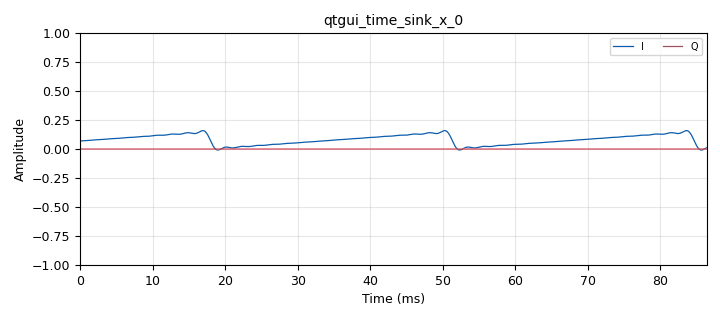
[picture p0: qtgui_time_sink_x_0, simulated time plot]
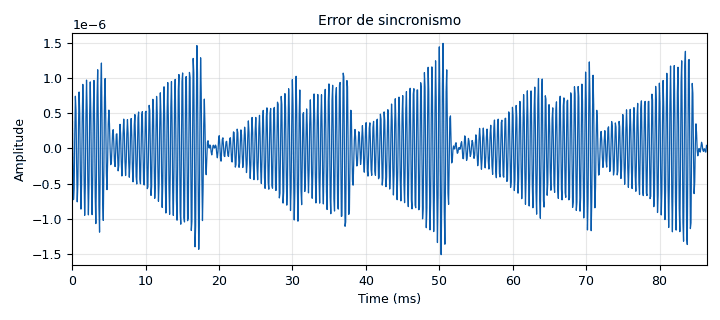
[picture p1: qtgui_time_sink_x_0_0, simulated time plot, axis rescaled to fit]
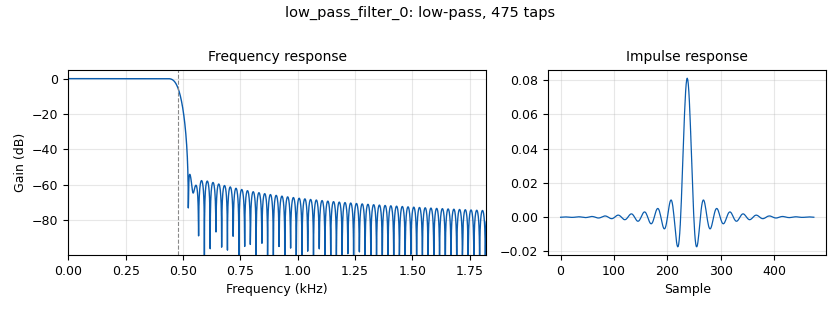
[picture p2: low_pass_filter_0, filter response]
<?xml version='1.0' encoding='utf-8'?>
<?grc format='1' created='3.7.13'?>
<flow_graph>
<block>
<key>options</key>
<param><key>id</key><value>top_block</value></param>
<param><key>description</key><value>NOTAS: Spp es samples per period; p_correccionla correcion de fase no esta en grados sino en muestras;</value></param>
<param><key>generate_options</key><value>qt_gui</value></param>
</block>
<block>
<key>variable</key>
<param><key>id</key><value>Ac_in</value></param>
<param><key>value</key><value>1</value></param>
</block>
<block>
<key>variable</key>
<param><key>id</key><value>BW_mensaje</value></param>
<param><key>value</key><value>fmensaje*16</value></param>
</block>
<block>
<key>variable</key>
<param><key>id</key><value>Spp</value></param>
<param><key>value</key><value>int(math.ceil(samp_rate/fc))</value></param>
</block>
<block>
<key>variable_qtgui_range</key>
<param><key>id</key><value>f_correccion</value></param>
<param><key>value</key><value>0</value></param>
<param><key>orient</key><value>Qt.Horizontal</value></param>
<param><key>start</key><value>-BW_mensaje/2.</value></param>
<param><key>step</key><value>BW_mensaje/200.</value></param>
<param><key>stop</key><value>BW_mensaje/2.</value></param>
</block>
<block>
<key>variable_qtgui_range</key>
<param><key>id</key><value>f_dev_in</value></param>
<param><key>value</key><value>0</value></param>
<param><key>orient</key><value>Qt.Horizontal</value></param>
<param><key>start</key><value>-BW_mensaje/2.</value></param>
<param><key>step</key><value>BW_mensaje/200.</value></param>
<param><key>stop</key><value>BW_mensaje/2.</value></param>
</block>
<block>
<key>variable</key>
<param><key>id</key><value>f_dev_in</value></param>
<param><key>_enabled</key><value>0</value></param>
<param><key>value</key><value>0</value></param>
</block>
<block>
<key>variable</key>
<param><key>id</key><value>fc</value></param>
<param><key>value</key><value>1000</value></param>
</block>
<block>
<key>variable</key>
<param><key>id</key><value>fmensaje</value></param>
<param><key>value</key><value>30</value></param>
</block>
<block>
<key>variable_qtgui_range</key>
<param><key>id</key><value>p_correccion</value></param>
<param><key>value</key><value>0</value></param>
<param><key>orient</key><value>Qt.Horizontal</value></param>
<param><key>start</key><value>0</value></param>
<param><key>step</key><value>1</value></param>
<param><key>stop</key><value>Spp</value></param>
<param><key>rangeType</key><value>int</value></param>
</block>
<block>
<key>variable</key>
<param><key>id</key><value>samp_rate</value></param>
<param><key>value</key><value>math.ceil((fc+BW_mensaje)*8.)</value></param>
</block>
<block>
<key>analog_sig_source_x</key>
<param><key>id</key><value>analog_sig_source_x_0</value></param>
<param><key>amp</key><value>Ac_in</value></param>
<param><key>freq</key><value>fc+f_dev_in</value></param>
<param><key>offset</key><value>0</value></param>
<param><key>type</key><value>float</value></param>
<param><key>samp_rate</key><value>samp_rate</value></param>
<param><key>waveform</key><value>analog.GR_SIN_WAVE</value></param>
</block>
<block>
<key>analog_sig_source_x</key>
<param><key>id</key><value>analog_sig_source_x_0_0</value></param>
<param><key>amp</key><value>1</value></param>
<param><key>freq</key><value>fc+f_correccion</value></param>
<param><key>offset</key><value>0</value></param>
<param><key>type</key><value>float</value></param>
<param><key>samp_rate</key><value>samp_rate</value></param>
<param><key>waveform</key><value>analog.GR_SIN_WAVE</value></param>
</block>
<block>
<key>analog_sig_source_x</key>
<param><key>id</key><value>analog_sig_source_x_0_0_0</value></param>
<param><key>amp</key><value>1</value></param>
<param><key>freq</key><value>fc+f_correccion</value></param>
<param><key>offset</key><value>0</value></param>
<param><key>type</key><value>float</value></param>
<param><key>samp_rate</key><value>samp_rate</value></param>
<param><key>waveform</key><value>analog.GR_COS_WAVE</value></param>
</block>
<block>
<key>analog_sig_source_x</key>
<param><key>id</key><value>analog_sig_source_x_1</value></param>
<param><key>amp</key><value>0.3</value></param>
<param><key>freq</key><value>fmensaje</value></param>
<param><key>offset</key><value>0</value></param>
<param><key>type</key><value>float</value></param>
<param><key>samp_rate</key><value>samp_rate</value></param>
<param><key>waveform</key><value>analog.GR_SAW_WAVE</value></param>
</block>
<block>
<key>blocks_multiply_xx</key>
<param><key>id</key><value>blocks_multiply_xx_0</value></param>
<param><key>type</key><value>float</value></param>
</block>
<block>
<key>blocks_multiply_xx</key>
<param><key>id</key><value>blocks_multiply_xx_0_0</value></param>
<param><key>type</key><value>float</value></param>
</block>
<block>
<key>blocks_multiply_xx</key>
<param><key>id</key><value>blocks_multiply_xx_0_1</value></param>
<param><key>type</key><value>float</value></param>
</block>
<block>
<key>blocks_multiply_xx</key>
<param><key>id</key><value>blocks_multiply_xx_0_2</value></param>
<param><key>type</key><value>float</value></param>
</block>
<block>
<key>blocks_delay</key>
<param><key>id</key><value>desfase</value></param>
<param><key>delay</key><value>p_correccion</value></param>
<param><key>type</key><value>float</value></param>
</block>
<block>
<key>blocks_delay</key>
<param><key>id</key><value>desfase_0</value></param>
<param><key>delay</key><value>p_correccion</value></param>
<param><key>type</key><value>float</value></param>
</block>
<block>
<key>import</key>
<param><key>id</key><value>import_0</value></param>
<param><key>import</key><value>import math</value></param>
</block>
<block>
<key>low_pass_filter</key>
<param><key>id</key><value>low_pass_filter_0</value></param>
<param><key>cutoff_freq</key><value>BW_mensaje</value></param>
<param><key>decim</key><value>1</value></param>
<param><key>type</key><value>fir_filter_fff</value></param>
<param><key>gain</key><value>1</value></param>
<param><key>samp_rate</key><value>samp_rate</value></param>
<param><key>width</key><value>BW_mensaje/8.</value></param>
<param><key>win</key><value>firdes.WIN_HAMMING</value></param>
</block>
<block>
<key>low_pass_filter</key>
<param><key>id</key><value>low_pass_filter_0_0</value></param>
<param><key>cutoff_freq</key><value>BW_mensaje</value></param>
<param><key>decim</key><value>1</value></param>
<param><key>type</key><value>fir_filter_fff</value></param>
<param><key>gain</key><value>1</value></param>
<param><key>samp_rate</key><value>samp_rate</value></param>
<param><key>width</key><value>BW_mensaje/8.</value></param>
<param><key>win</key><value>firdes.WIN_HAMMING</value></param>
</block>
<block>
<key>low_pass_filter</key>
<param><key>id</key><value>low_pass_filter_0_1</value></param>
<param><key>cutoff_freq</key><value>BW_mensaje</value></param>
<param><key>decim</key><value>1</value></param>
<param><key>type</key><value>fir_filter_fff</value></param>
<param><key>gain</key><value>1</value></param>
<param><key>samp_rate</key><value>samp_rate</value></param>
<param><key>width</key><value>BW_mensaje/8.</value></param>
<param><key>win</key><value>firdes.WIN_HAMMING</value></param>
</block>
<block>
<key>qtgui_time_sink_x</key>
<param><key>id</key><value>qtgui_time_sink_x_0</value></param>
<param><key>color1</key><value>"blue"</value></param>
<param><key>label1</key><value>I</value></param>
<param><key>color2</key><value>"red"</value></param>
<param><key>label2</key><value>Q</value></param>
<param><key>nconnections</key><value>2</value></param>
<param><key>size</key><value>1024</value></param>
<param><key>srate</key><value>samp_rate</value></param>
<param><key>type</key><value>float</value></param>
</block>
<block>
<key>qtgui_time_sink_x</key>
<param><key>id</key><value>qtgui_time_sink_x_0_0</value></param>
<param><key>color1</key><value>"blue"</value></param>
<param><key>label1</key><value></value></param>
<param><key>name</key><value>"Error de sincronismo"</value></param>
<param><key>size</key><value>1024</value></param>
<param><key>srate</key><value>samp_rate</value></param>
<param><key>type</key><value>float</value></param>
<param><key>ymax</key><value>0.04</value></param>
<param><key>ymin</key><value>-0.04</value></param>
</block>
<connection><source_block_id>analog_sig_source_x_0</source_block_id><sink_block_id>blocks_multiply_xx_0_0</sink_block_id><source_key>0</source_key><sink_key>0</sink_key></connection>
<connection><source_block_id>analog_sig_source_x_0_0</source_block_id><sink_block_id>desfase_0</sink_block_id><source_key>0</source_key><sink_key>0</sink_key></connection>
<connection><source_block_id>analog_sig_source_x_0_0_0</source_block_id><sink_block_id>desfase</sink_block_id><source_key>0</source_key><sink_key>0</sink_key></connection>
<connection><source_block_id>analog_sig_source_x_1</source_block_id><sink_block_id>low_pass_filter_0_1</sink_block_id><source_key>0</source_key><sink_key>0</sink_key></connection>
<connection><source_block_id>blocks_multiply_xx_0</source_block_id><sink_block_id>low_pass_filter_0</sink_block_id><source_key>0</source_key><sink_key>0</sink_key></connection>
<connection><source_block_id>blocks_multiply_xx_0_0</source_block_id><sink_block_id>blocks_multiply_xx_0</sink_block_id><source_key>0</source_key><sink_key>0</sink_key></connection>
<connection><source_block_id>blocks_multiply_xx_0_0</source_block_id><sink_block_id>blocks_multiply_xx_0_1</sink_block_id><source_key>0</source_key><sink_key>1</sink_key></connection>
<connection><source_block_id>blocks_multiply_xx_0_1</source_block_id><sink_block_id>low_pass_filter_0_0</sink_block_id><source_key>0</source_key><sink_key>0</sink_key></connection>
<connection><source_block_id>blocks_multiply_xx_0_2</source_block_id><sink_block_id>qtgui_time_sink_x_0_0</sink_block_id><source_key>0</source_key><sink_key>0</sink_key></connection>
<connection><source_block_id>desfase</source_block_id><sink_block_id>blocks_multiply_xx_0_1</sink_block_id><source_key>0</source_key><sink_key>0</sink_key></connection>
<connection><source_block_id>desfase_0</source_block_id><sink_block_id>blocks_multiply_xx_0</sink_block_id><source_key>0</source_key><sink_key>1</sink_key></connection>
<connection><source_block_id>low_pass_filter_0</source_block_id><sink_block_id>blocks_multiply_xx_0_2</sink_block_id><source_key>0</source_key><sink_key>1</sink_key></connection>
<connection><source_block_id>low_pass_filter_0</source_block_id><sink_block_id>qtgui_time_sink_x_0</sink_block_id><source_key>0</source_key><sink_key>0</sink_key></connection>
<connection><source_block_id>low_pass_filter_0_0</source_block_id><sink_block_id>blocks_multiply_xx_0_2</sink_block_id><source_key>0</source_key><sink_key>0</sink_key></connection>
<connection><source_block_id>low_pass_filter_0_0</source_block_id><sink_block_id>qtgui_time_sink_x_0</sink_block_id><source_key>0</source_key><sink_key>1</sink_key></connection>
<connection><source_block_id>low_pass_filter_0_1</source_block_id><sink_block_id>blocks_multiply_xx_0_0</sink_block_id><source_key>0</source_key><sink_key>1</sink_key></connection>
</flow_graph>
